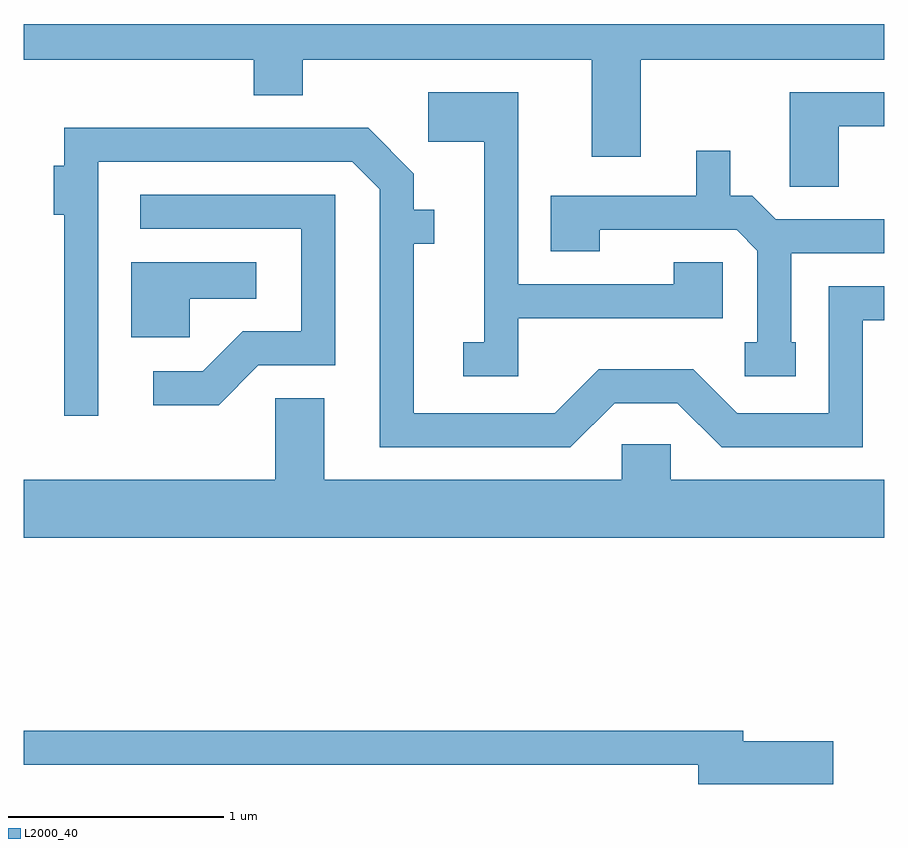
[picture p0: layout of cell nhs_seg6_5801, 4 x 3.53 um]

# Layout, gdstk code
import gdstk
lib = gdstk.Library(unit=1e-6, precision=1e-09)
def P(c, l, *ps):  # polygons
    for p in ps: c.add(gdstk.Polygon(p, *l))
L2000_40 = (2000, 40)

nhs_seg6_5801 = lib.new_cell('nhs_seg6_5801')
P(nhs_seg6_5801, L2000_40, [(364.479,1589.996),(365.611,1589.996),(365.611,1590.162),(361.611,1590.162),(361.611,1589.996),(362.681,1589.996),(362.681,1589.831),(362.909,1589.831),(362.909,1589.996),(364.251,1589.996),(364.251,1589.546),(364.479,1589.546)],
  [(365.399,1589.686),(365.611,1589.686),(365.611,1589.844),(365.171,1589.844),(365.171,1589.406),(365.399,1589.406)],
  [(363.909,1588.796),(364.859,1588.796),(364.859,1589.054),(364.631,1589.054),(364.631,1588.954),(363.909,1588.954),(363.909,1589.844),(363.491,1589.844),(363.491,1589.616),(363.751,1589.616),(363.751,1588.684),(363.653,1588.684),(363.653,1588.526),(363.909,1588.526)],
  [(364.357,1588.401),(364.649,1588.401),(364.854,1588.196),(365.509,1588.196),(365.509,1588.786),(365.611,1588.786),(365.611,1588.944),(365.351,1588.944),(365.351,1588.354),(364.927,1588.354),(364.722,1588.559),(364.284,1588.559),(364.079,1588.354),(363.424,1588.354),(363.424,1589.141),(363.519,1589.141),(363.519,1589.299),(363.424,1589.299),(363.424,1589.467),(363.212,1589.679),(361.801,1589.679),(361.801,1589.504),(361.751,1589.504),(361.751,1589.276),(361.801,1589.276),(361.801,1588.343),(361.959,1588.343),(361.959,1589.521),(363.139,1589.521),(363.266,1589.394),(363.266,1588.196),(364.152,1588.196)],
  [(365.199,1588.684),(365.179,1588.684),(365.179,1589.096),(365.611,1589.096),(365.611,1589.254),(365.107,1589.254),(364.997,1589.364),(364.894,1589.364),(364.894,1589.573),(364.736,1589.573),(364.736,1589.364),(364.061,1589.364),(364.061,1589.106),(364.289,1589.106),(364.289,1589.206),(364.924,1589.206),(365.021,1589.109),(365.021,1588.684),(364.963,1588.684),(364.963,1588.526),(365.199,1588.526)],
  [(362.702,1588.576),(363.059,1588.576),(363.059,1589.369),(362.153,1589.369),(362.153,1589.211),(362.901,1589.211),(362.901,1588.734),(362.629,1588.734),(362.444,1588.549),(362.213,1588.549),(362.213,1588.391),(362.517,1588.391)],
  [(362.384,1588.886),(362.693,1588.886),(362.693,1589.054),(362.111,1589.054),(362.111,1588.706),(362.384,1588.706)],
  [(365.611,1588.044),(364.619,1588.044),(364.619,1588.209),(364.391,1588.209),(364.391,1588.044),(363.009,1588.044),(363.009,1588.424),(362.781,1588.424),(362.781,1588.044),(361.611,1588.044),(361.611,1587.776),(365.611,1587.776)],
  [(365.374,1586.829),(364.954,1586.829),(364.954,1586.879),(361.611,1586.879),(361.611,1586.721),(364.746,1586.721),(364.746,1586.631),(365.374,1586.631)])

lib.write_gds('nhs_seg6_5801.gds')
